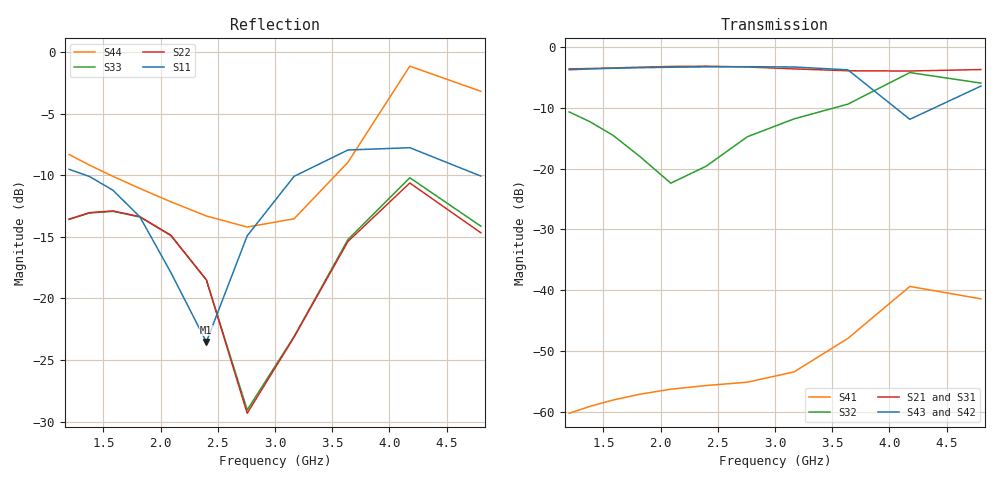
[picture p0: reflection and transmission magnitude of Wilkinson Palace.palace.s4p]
! Generated by circuitRF - EM: Palace
! circuitRF-EM setup: Wilkinson Palace
! circuitRF-EM layout: Wilkinson.c3d
! circuitRF-EM written: 2026-11-15 22:57:35Z
! circuitRF-EM stamp: 20261115T225735Z-9b27c9a0
! circuitRF-EM geometry: 06b99ef5be428206
! circuitRF-EM mesh settings: a7694d155dadb9d5
! circuitRF-EM ports: 000119484f038347
! circuitRF-EM model: Palace 0.18.1 (0dc74cd, schema 1-7-0)
! Port[1] = P1
! Port[2] = P2
! Port[3] = P3
! Port[4] = R1
! circuitRF-EM port 1: 'port/1' from 'U1/Bottom Copper (1 oz)/1' to 'U1/Top Copper (1 oz)/1', lumped, 50 Ohm
! circuitRF-EM port 2: 'port/2' from 'U1/Bottom Copper (1 oz)/1' to 'U1/Top Copper (1 oz)/1', lumped, 50 Ohm
! circuitRF-EM port 3: 'port/3' from 'U1/Bottom Copper (1 oz)/1' to 'U1/Top Copper (1 oz)/1', lumped, 50 Ohm
! circuitRF-EM port 4: 'port/4' from 'U1/Top Copper (1 oz)/1' to 'U1/Top Copper (1 oz)/1', lumped, 50 Ohm
! Port 1 = P01  P1  net=?  ref=U1/Bottom Copper (1 oz)/1  uncalibrated
! Port 2 = P02  P2  net=?  ref=U1/Bottom Copper (1 oz)/1  uncalibrated
! Port 3 = P03  P3  net=?  ref=U1/Bottom Copper (1 oz)/1  uncalibrated
! Port 4 = P04  R1  net=?  ref=U1/Top Copper (1 oz)/1  uncalibrated
! DC: none, the lowest row is 1.2 GHz; a circuit's DC solve through this file takes that row as DC
! circuitRF-EM 3D mesh: 78,748 elements initially, 78,748 finally, 0 adaptive pass(es), element order 1
! circuitRF-EM 3D operating temperature: 20 C
! circuitRF-EM 3D run: preset Draft; 78748 -> 78748 tetrahedra; 101692 unknowns; 0 refinement pass(es); 4 frequency sample(s)
! circuitRF-EM 3D run cost: wall 97 s; Palace peak memory 2.7 GB
! circuitRF-EM: re-running the EM setup rewrites this file. If circuitRF reports it as stale, the layout's cross-section changed after this file was written.
# GHz S RI R 50
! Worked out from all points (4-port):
!   11 points, 1.2 GHz to 4.8 GHz, reference 50 ohm
!   strongest paths, dB at 1.2 GHz, 1.583 GHz, 2.4 GHz, 3.638 GHz, 4.8 GHz:
!     S43: -3.8, -3.5, -3.3, -3.8, -6.4
!     S42: -3.8, -3.5, -3.3, -3.9, -6.3
!     S21: -3.6, -3.5, -3.2, -3.9, -3.7
!     S31: -3.6, -3.5, -3.2, -4.0, -3.7
!     S32: -10.7, -14.5, -19.6, -9.4, -5.9
!     S41: -60.2, -58.0, -55.7, -47.9, -41.4
!   lowest |S11| = -23.5 dB at 2.4 GHz (marker M1), VSWR 1.14, Z = 44.1 + j2.14 ohm
!   |S11| at or under -10 dB: 1.346 GHz to 3.188 GHz (1.842 GHz wide, 81.3 % of centre); 4.780393 GHz to end of sweep
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1.2  -0.2582 0.2119  -0.0356 -0.6591  -0.0357 -0.6587  -0.000857 -0.000464
     -0.0356 -0.6591  -0.188 0.0935  -0.0899 -0.2782  0.6189 -0.1933
     -0.0357 -0.6587  -0.0899 -0.2782  -0.1864 0.0952  -0.6196 0.1932
     -0.000857 -0.000464  0.6189 -0.1933  -0.6196 0.1932  0.2891 0.2521
2.089321  -0.0341 0.1229  -0.6632 -0.1957  -0.6621 -0.195  -0.0014 0.000631
          -0.6632 -0.1957  -0.00571 0.1805  -0.04 -0.0645  0.4005 -0.5489
          -0.6621 -0.195  -0.04 -0.0645  -0.00245 0.18  -0.4012 0.5501
          -0.0014 0.000631  0.4005 -0.5489  -0.4012 0.5501  0.2435 -0.0395
2.4  -0.0621 0.0242  -0.6853 0.1144  -0.6835 0.1147  -0.00128 0.00105
     -0.6853 0.1144  0.0537 0.1062  0.00111 -0.1049  0.2778 -0.6248
     -0.6835 0.1147  0.00111 -0.1049  0.0564 0.1048  -0.2784 0.6265
     -0.00128 0.00105  0.2778 -0.6248  -0.2784 0.6265  0.1916 -0.1
2.756876  -0.1786 -0.018  -0.5299 0.4328  -0.5275 0.4319  -0.00109 0.00137
          -0.5299 0.4328  0.0334 0.00751  -0.0269 -0.1805  0.1145 -0.6758
          -0.5275 0.4319  -0.0269 -0.1805  0.0349 0.00559  -0.1145 0.6783
          -0.00109 0.00137  0.1145 -0.6758  -0.1145 0.6783  0.1177 -0.1553
3.63772  -0.2841 0.2817  0.2 0.6044  0.1984 0.5975  -0.00161 0.00369
         0.2 0.6044  -0.1091 0.1307  -0.2851 -0.183  -0.3705 -0.5242
         0.1984 0.5975  -0.2851 -0.183  -0.1103 0.1337  0.3761 0.5276
         -0.00161 0.00369  -0.3705 -0.5242  0.3761 0.5276  -0.2514 -0.2531
4.178643  -0.0676 0.4031  0.5431 0.3271  0.5289 0.3285  0.00625 0.00876
          0.5431 0.3271  0.2688 0.1191  -0.6041 0.1186  -0.2443 0.0162
          0.5289 0.3285  -0.6041 0.1186  0.2811 0.1277  0.2531 -0.0239
          0.00625 0.00876  -0.2443 0.0162  0.2531 -0.0239  -0.793 0.37
4.8  0.1703 0.2633  0.6249 -0.1853  0.6274 -0.1769  0.0068 -0.00511
     0.6249 -0.1853  -0.0105 -0.1844  -0.0077 0.5044  -0.0785 -0.4752
     0.6274 -0.1769  -0.0077 0.5044  -0.00207 -0.1963  0.0747 0.4706
     0.0068 -0.00511  -0.0785 -0.4752  0.0747 0.4706  0.1685 0.6712
